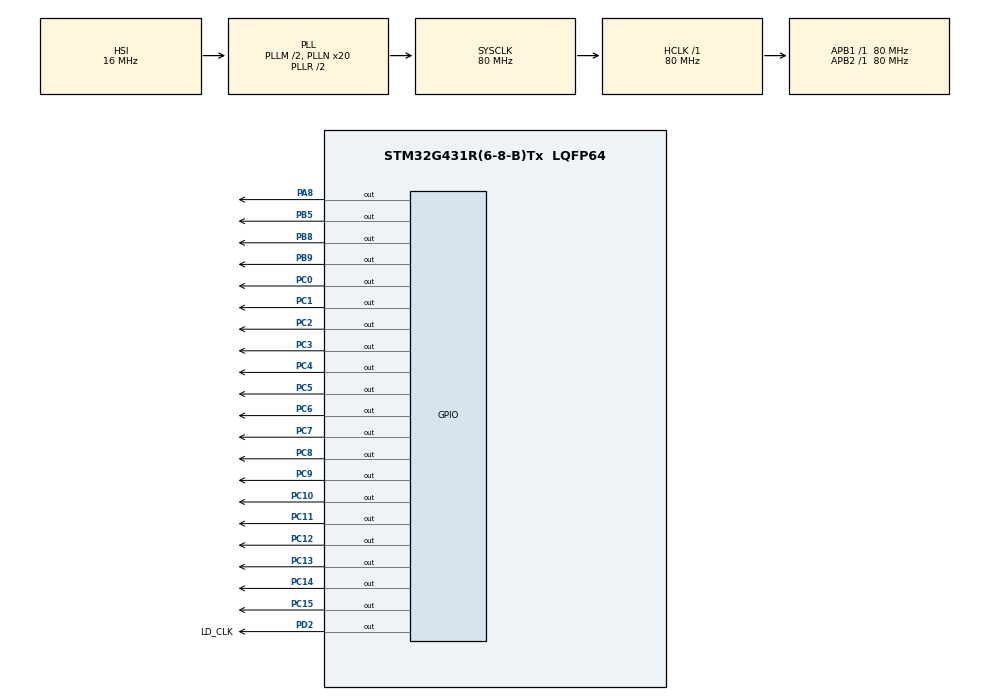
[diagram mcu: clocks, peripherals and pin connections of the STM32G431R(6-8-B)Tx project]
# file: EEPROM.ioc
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Mcu.Family=STM32G4
Mcu.Name=STM32G431R(6-8-B)Tx
Mcu.Package=LQFP64
NVIC.PriorityGroup=NVIC_PRIORITYGROUP_4
PA8.Signal=GPIO_Output
PB5.Signal=GPIO_Output
PB8-BOOT0.Signal=GPIO_Output
PB9.Signal=GPIO_Output
PC0.Signal=GPIO_Output
PC1.Signal=GPIO_Output
PC10.Signal=GPIO_Output
PC11.Signal=GPIO_Output
PC12.Signal=GPIO_Output
PC13.Signal=GPIO_Output
PC14-OSC32_IN.Signal=GPIO_Output
PC15-OSC32_OUT.Signal=GPIO_Output
PC2.Signal=GPIO_Output
PC3.Signal=GPIO_Output
PC4.Signal=GPIO_Output
PC5.Signal=GPIO_Output
PC6.Signal=GPIO_Output
PC7.Signal=GPIO_Output
PC8.Signal=GPIO_Output
PC9.Signal=GPIO_Output
PD2.GPIO_Label=LD_CLK
PD2.Signal=GPIO_Output
PF0-OSC_IN.Mode=HSE-External-Oscillator
PF0-OSC_IN.Signal=RCC_OSC_IN
PF1-OSC_OUT.Mode=HSE-External-Oscillator
PF1-OSC_OUT.Signal=RCC_OSC_OUT
ProjectManager.HeapSize=0x200
ProjectManager.StackSize=0x400
ProjectManager.TargetToolchain=MDK-ARM V5.27
RCC.ADC12Freq_Value=80000000
RCC.AHBFreq_Value=80000000
RCC.APB1Freq_Value=80000000
RCC.APB1TimFreq_Value=80000000
RCC.APB2Freq_Value=80000000
RCC.APB2TimFreq_Value=80000000
RCC.CortexFreq_Value=80000000
RCC.EXTERNAL_CLOCK_VALUE=12288000
RCC.HCLKFreq_Value=80000000
RCC.HSE_VALUE=24000000
RCC.HSI48_VALUE=48000000
RCC.HSI_VALUE=16000000
RCC.LSE_VALUE=32768
RCC.PLLM=RCC_PLLM_DIV2
RCC.PLLN=20
RCC.SYSCLKFreq_VALUE=80000000
RCC.SYSCLKSource=RCC_SYSCLKSOURCE_PLLCLK
RCC.USBFreq_Value=80000000
RCC.VCOOutputFreq_Value=160000000
VP_SYS_VS_DBSignals.Mode=DisableDeadBatterySignals
board=custom

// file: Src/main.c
/* USER CODE BEGIN Header */
/**
  ******************************************************************************
  * @file           : main.c
  * @brief          : Main program body
  ******************************************************************************
  * @attention
  *
  * <h2><center>&copy; Copyright (c) 2021 STMicroelectronics.
  * All rights reserved.</center></h2>
  *
  * This software component is licensed by ST under BSD 3-Clause license,
  * the "License"; You may not use this file except in compliance with the
  * License. You may obtain a copy of the License at:
  *                        opensource.org/licenses/BSD-3-Clause
  *
  ******************************************************************************
  */
/* USER CODE END Header */
#include "main.h"

/* USER CODE BEGIN Includes */
#include <stdio.h>
#include "lcd.h"
#include "i2c.h"
/* USER CODE END Includes */

/* USER CODE BEGIN PV */
uint16_t Led_Val;
union ee_float
{
	float value;
	uint8_t data[4];
}float_write, float_read;
/* USER CODE END PV */

void SystemClock_Config(void);
static void MX_GPIO_Init(void);

/* USER CODE BEGIN 0 */
//操作LED的函数
//1 关闭全部LED，避免与LCD起冲突
void TurnOff_LEDS()
{
	Led_Val = 0xFF00;
	HAL_GPIO_WritePin(LD_CLK_GPIO_Port, LD_CLK_Pin, GPIO_PIN_SET);
	GPIOC->ODR = (uint32_t)Led_Val;
	HAL_GPIO_WritePin(LD_CLK_GPIO_Port, LD_CLK_Pin, GPIO_PIN_RESET);
}
//2 关闭LED
void TurnOff_LED(uint8_t i)
{
	Led_Val |= (0x01 << (7 + i));
	HAL_GPIO_WritePin(LD_CLK_GPIO_Port, LD_CLK_Pin, GPIO_PIN_SET);
	GPIOC->ODR = (uint32_t)Led_Val;
	HAL_GPIO_WritePin(LD_CLK_GPIO_Port, LD_CLK_Pin, GPIO_PIN_RESET);
}
//3 打开LED
void TurnOn_LED(uint8_t i)
{
	Led_Val &= ~(0x01 << (7 + i));
	HAL_GPIO_WritePin(LD_CLK_GPIO_Port, LD_CLK_Pin, GPIO_PIN_SET);
	GPIOC->ODR = (uint32_t)Led_Val;
	HAL_GPIO_WritePin(LD_CLK_GPIO_Port, LD_CLK_Pin, GPIO_PIN_RESET);
}
//读取eeprom
uint8_t ee_read(uint8_t address)
{
	uint8_t val;
	I2CStart();
	I2CSendByte(0xa0);
	I2CWaitAck();

	I2CSendByte(address);
	I2CWaitAck();

	I2CStart();
	I2CSendByte(0xa1);
	I2CWaitAck();
	val = I2CReceiveByte();
	I2CWaitAck();
	I2CStop();
	return val;
}
//写入eeprom
void ee_write(uint8_t address, uint8_t val)
{
	I2CStart();
	I2CSendByte(0xa0);
	I2CWaitAck();

	I2CSendByte(address);
	I2CWaitAck();

	I2CSendByte(val);
	I2CWaitAck();

	I2CStop();
}
//LCD显示进程
void Display_Proc()
{
	uint8_t buf[30];
	sprintf((char *)buf, "The value of i is: ");
	LCD_DisplayStringLine(Line0, buf);
	for(int i=0; i < sizeof(float); i++)
	{
		float_read.data[i]=ee_read(0x10+i);
	}
	sprintf((char *)buf, "%f", float_read.value);
	LCD_DisplayStringLine(Line2, buf);

	uint8_t  ch = ee_read(0x20);
	sprintf((char *)buf, "%c", ch);
	LCD_DisplayStringLine(Line3, buf);
}
/* USER CODE END 0 */

int main(void)
{

  /* MCU Configuration--------------------------------------------------------*/

  /* Reset of all peripherals, Initializes the Flash interface and the Systick. */
  HAL_Init();

  /* Configure the system clock */
  SystemClock_Config();

  /* Initialize all configured peripherals */
  MX_GPIO_Init();
  /* USER CODE BEGIN 2 */
	//初始化I2C
	I2CInit();
	//写入浮点数
	float_write.value = 3.131415926;
	for(int i = 0; i < sizeof(float); i++)
	{
		ee_write(0x10 + i, float_write.data[i]);
		HAL_Delay(5);
	}
	ee_write(0x20, 'z');
	HAL_Delay(5);
	//初始化LCD
	LCD_Init();
	LCD_Clear(White);
	LCD_SetBackColor(White);
	LCD_SetTextColor(Black);
	//关闭全部LED
	TurnOff_LEDS();
  /* USER CODE END 2 */
	Display_Proc();
  /* Infinite loop */
  while (1)
  {

  }
}

void SystemClock_Config(void)
{
  RCC_OscInitTypeDef RCC_OscInitStruct = {0};
  RCC_ClkInitTypeDef RCC_ClkInitStruct = {0};

  /** Configure the main internal regulator output voltage
  */
  HAL_PWREx_ControlVoltageScaling(PWR_REGULATOR_VOLTAGE_SCALE1);
  /** Initializes the RCC Oscillators according to the specified parameters
  * in the RCC_OscInitTypeDef structure.
  */
  RCC_OscInitStruct.OscillatorType = RCC_OSCILLATORTYPE_HSI;
  RCC_OscInitStruct.HSIState = RCC_HSI_ON;
  RCC_OscInitStruct.HSICalibrationValue = RCC_HSICALIBRATION_DEFAULT;
  RCC_OscInitStruct.PLL.PLLState = RCC_PLL_ON;
  RCC_OscInitStruct.PLL.PLLSource = RCC_PLLSOURCE_HSI;
  RCC_OscInitStruct.PLL.PLLM = RCC_PLLM_DIV2;
  RCC_OscInitStruct.PLL.PLLN = 20;
  RCC_OscInitStruct.PLL.PLLP = RCC_PLLP_DIV2;
  RCC_OscInitStruct.PLL.PLLQ = RCC_PLLQ_DIV2;
  RCC_OscInitStruct.PLL.PLLR = RCC_PLLR_DIV2;
  if (HAL_RCC_OscConfig(&RCC_OscInitStruct) != HAL_OK)
  {
    Error_Handler();
  }
  /** Initializes the CPU, AHB and APB buses clocks
  */
  RCC_ClkInitStruct.ClockType = RCC_CLOCKTYPE_HCLK|RCC_CLOCKTYPE_SYSCLK
                              |RCC_CLOCKTYPE_PCLK1|RCC_CLOCKTYPE_PCLK2;
  RCC_ClkInitStruct.SYSCLKSource = RCC_SYSCLKSOURCE_PLLCLK;
  RCC_ClkInitStruct.AHBCLKDivider = RCC_SYSCLK_DIV1;
  RCC_ClkInitStruct.APB1CLKDivider = RCC_HCLK_DIV1;
  RCC_ClkInitStruct.APB2CLKDivider = RCC_HCLK_DIV1;

  if (HAL_RCC_ClockConfig(&RCC_ClkInitStruct, FLASH_LATENCY_2) != HAL_OK)
  {
    Error_Handler();
  }
}

static void MX_GPIO_Init(void)
{
  GPIO_InitTypeDef GPIO_InitStruct = {0};

  /* GPIO Ports Clock Enable */
  __HAL_RCC_GPIOC_CLK_ENABLE();
  __HAL_RCC_GPIOF_CLK_ENABLE();
  __HAL_RCC_GPIOA_CLK_ENABLE();
  __HAL_RCC_GPIOD_CLK_ENABLE();
  __HAL_RCC_GPIOB_CLK_ENABLE();

  /*Configure GPIO pin Output Level */
  HAL_GPIO_WritePin(GPIOC, GPIO_PIN_13|GPIO_PIN_14|GPIO_PIN_15|GPIO_PIN_0
                          |GPIO_PIN_1|GPIO_PIN_2|GPIO_PIN_3|GPIO_PIN_4
                          |GPIO_PIN_5|GPIO_PIN_6|GPIO_PIN_7|GPIO_PIN_8
                          |GPIO_PIN_9|GPIO_PIN_10|GPIO_PIN_11|GPIO_PIN_12, GPIO_PIN_RESET);

  /*Configure GPIO pin Output Level */
  HAL_GPIO_WritePin(GPIOA, GPIO_PIN_8, GPIO_PIN_RESET);

  /*Configure GPIO pin Output Level */
  HAL_GPIO_WritePin(LD_CLK_GPIO_Port, LD_CLK_Pin, GPIO_PIN_RESET);

  /*Configure GPIO pin Output Level */
  HAL_GPIO_WritePin(GPIOB, GPIO_PIN_5|GPIO_PIN_8|GPIO_PIN_9, GPIO_PIN_RESET);

  /*Configure GPIO pins : PC13 PC14 PC15 PC0
                           PC1 PC2 PC3 PC4
                           PC5 PC6 PC7 PC8
                           PC9 PC10 PC11 PC12 */
  GPIO_InitStruct.Pin = GPIO_PIN_13|GPIO_PIN_14|GPIO_PIN_15|GPIO_PIN_0
                          |GPIO_PIN_1|GPIO_PIN_2|GPIO_PIN_3|GPIO_PIN_4
                          |GPIO_PIN_5|GPIO_PIN_6|GPIO_PIN_7|GPIO_PIN_8
                          |GPIO_PIN_9|GPIO_PIN_10|GPIO_PIN_11|GPIO_PIN_12;
  GPIO_InitStruct.Mode = GPIO_MODE_OUTPUT_PP;
  GPIO_InitStruct.Pull = GPIO_NOPULL;
  GPIO_InitStruct.Speed = GPIO_SPEED_FREQ_LOW;
  HAL_GPIO_Init(GPIOC, &GPIO_InitStruct);

  /*Configure GPIO pin : PA8 */
  GPIO_InitStruct.Pin = GPIO_PIN_8;
  GPIO_InitStruct.Mode = GPIO_MODE_OUTPUT_PP;
  GPIO_InitStruct.Pull = GPIO_NOPULL;
  GPIO_InitStruct.Speed = GPIO_SPEED_FREQ_LOW;
  HAL_GPIO_Init(GPIOA, &GPIO_InitStruct);

  /*Configure GPIO pin : LD_CLK_Pin */
  GPIO_InitStruct.Pin = LD_CLK_Pin;
  GPIO_InitStruct.Mode = GPIO_MODE_OUTPUT_PP;
  GPIO_InitStruct.Pull = GPIO_NOPULL;
  GPIO_InitStruct.Speed = GPIO_SPEED_FREQ_LOW;
  HAL_GPIO_Init(LD_CLK_GPIO_Port, &GPIO_InitStruct);

  /*Configure GPIO pins : PB5 PB8 PB9 */
  GPIO_InitStruct.Pin = GPIO_PIN_5|GPIO_PIN_8|GPIO_PIN_9;
  GPIO_InitStruct.Mode = GPIO_MODE_OUTPUT_PP;
  GPIO_InitStruct.Pull = GPIO_NOPULL;
  GPIO_InitStruct.Speed = GPIO_SPEED_FREQ_LOW;
  HAL_GPIO_Init(GPIOB, &GPIO_InitStruct);

}

void Error_Handler(void)
{
  __disable_irq();
  while (1)
  {
  }
}

/************************ (C) COPYRIGHT STMicroelectronics *****END OF FILE****/
